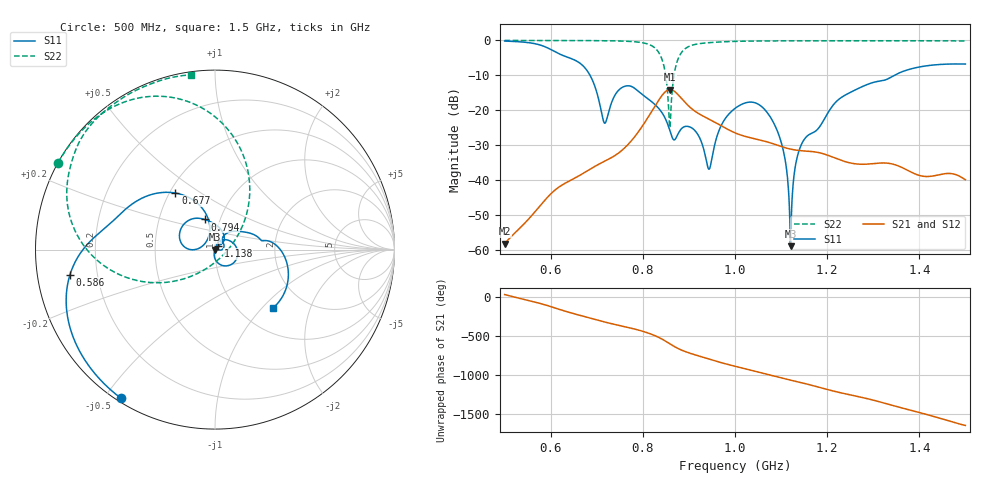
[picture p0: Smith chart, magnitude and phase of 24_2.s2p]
! TOUCHSTONE file generated by CST MICROWAVE STUDIO
! Date and time: Wed Oct 28 19:37:59 2020
! Project name: Scenario_1_Circular_Tissue_out_of_Line_v2.cst
! Parameters = {dy1=51.9; L_HA=400; MT=2.54; Rad_Dielectric=30; Rad_Lower=7.3; Rad_Upper=30; a_HA=580; a_WG=246; b_HA=500; b_WG=121; c_HA=0; c_WG=187; d_feed=85; dx1=346; h_feed=15; h_lower=18; h_upper=40}
! Header version: 2018
! Port assignment regex: !\s*Touchstone port\s*([0-9]+)\s*=\s*(CST MWS port|CST DS port)\s*([0-9]+|Zmin|Zmax)\s*\(\"(.*)\"\)(\s*mode\s*([0-9]+))?.*
! Touchstone port assignment:
! Touchstone port 1 = CST MWS port 1 ("")
! Touchstone port 2 = CST MWS port 2 ("")
# GHz S DB R 50
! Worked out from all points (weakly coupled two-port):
!   1003 points, 500 MHz to 1.5 GHz, reference 50 ohm
!   highest |S21| = -14.07 dB at 859 MHz (marker M1); lowest = -58.2 dB at 500 MHz (marker M2)
!   lowest |S11| = -59.0 dB at 1.121 GHz (marker M3), VSWR 1.00, Z = 50.1 + j0.0382 ohm
!   |S11| at or under -10 dB: 685.4 MHz to 1.346 GHz (660.4 MHz wide, 65 % of centre)
!   |S22| runs from -25.0 to 0.0 dB; largest |S21 - S12| = 3.3e-05
!   S11 on the Smith chart (normalised r, x): 500 MHz: 0.01, -0.55; 586 MHz: 0.10, -0.08; 677 MHz: 0.54, +0.40; 794 MHz: 0.84, +0.29; 1.138 GHz: 1.03, +0.04; 1.5 GHz: 1.40, -1.15
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0.5  -0.18 -122.3  -58.25 32.0  -58.25 32.0  -0.01 151.1
0.586  -1.73 -170.2  -46.01 -96.9  -46.01 -96.9  -0.02 145.2
0.667  -6.90 136.0  -38.37 119.7  -38.37 119.7  -0.04 138.3
0.677  -8.30 125.0  -37.59 103.8  -37.59 103.8  -0.05 137.4
0.717  -23.72 141.1  -34.63 40.2  -34.63 40.2  -0.09 132.7
0.751  -13.84 164.2  -31.90 -7.1  -31.90 -7.1  -0.17 127.2
0.794  -15.00 109.1  -25.51 -68.9  -25.51 -68.9  -0.55 115.3
0.834  -19.43 66.7  -17.21 -156.0  -17.21 -156.0  -3.35 84.5
0.859  -26.02 40.9  -14.07 119.2  -14.07 119.2  -24.98 -65.2
0.882  -25.59 62.6  -16.36 45.2  -16.36 45.2  -3.83 -173.4
0.915  -26.15 12.0  -20.46 -23.8  -20.46 -23.8  -1.10 159.6
0.944  -36.92 33.6  -22.57 -75.6  -22.57 -75.6  -0.64 150.1
0.968  -24.97 60.0  -24.29 -117.4  -24.29 -117.4  -0.44 145.3
1  -19.49 21.2  -26.49 -166.9  -26.49 -166.9  -0.27 140.3
1.081  -22.93 -80.3  -29.55 71.7  -29.55 71.7  -0.13 131.4
1.106  -32.26 -101.4  -30.65 35.3  -30.65 35.3  -0.12 129.1
1.121  -58.98 19.8  -31.17 14.6  -31.17 14.6  -0.11 127.9
1.138  -31.98 51.5  -31.54 -8.8  -31.54 -8.8  -0.11 126.4
1.167  -26.57 41.7  -31.85 -51.6  -31.85 -51.6  -0.10 124.2
1.229  -16.51 43.4  -34.31 -146.5  -34.31 -146.5  -0.08 119.4
1.334  -10.86 10.1  -35.23 64.1  -35.23 64.1  -0.09 111.5
1.5  -6.77 -45.2  -39.94 154.5  -39.95 154.4  -0.15 97.9
